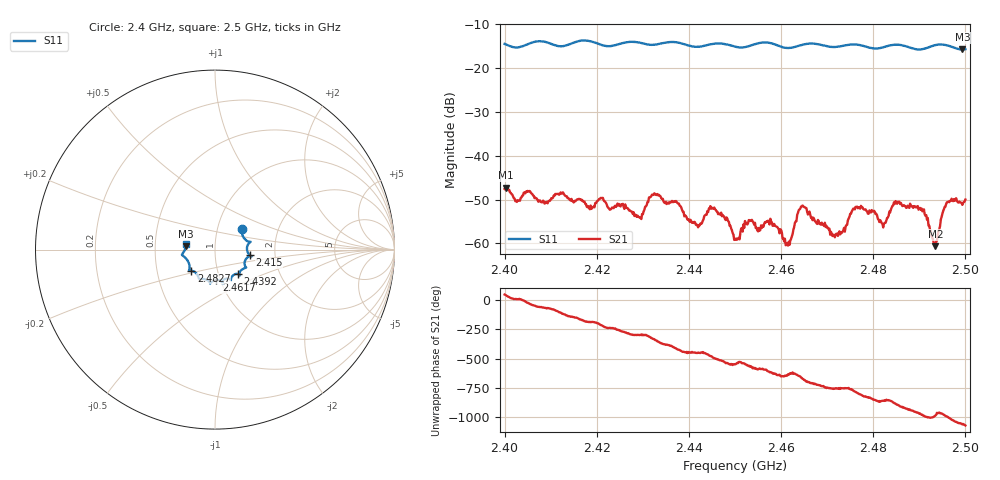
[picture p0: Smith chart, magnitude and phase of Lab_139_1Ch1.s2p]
# Hz S RI R 50
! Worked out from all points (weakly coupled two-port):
!   601 points, 2.4 GHz to 2.5 GHz, reference 50 ohm
!   highest |S21| = -47.31 dB at 2.4003 GHz (marker M1); lowest = -60.6 dB at 2.4935 GHz (marker M2)
!   lowest |S11| = -15.7 dB at 2.4993 GHz (marker M3), VSWR 1.39, Z = 36 + j1.42 ohm
!   |S11| at or under -10 dB: start of sweep to end of sweep
!   S12 and S22 are empty: the file has one direction only
!   S11 on the Smith chart (normalised r, x): 2.4 GHz: 1.31, +0.31; 2.415 GHz: 1.48, -0.10; 2.4392 GHz: 1.24, -0.35; 2.4617 GHz: 0.96, -0.34; 2.4827 GHz: 0.75, -0.18; 2.5 GHz: 0.72, +0.05
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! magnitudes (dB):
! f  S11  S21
! 2.4 GHz  -14.4  -47.6
! 2.4003 GHz  -14.6  -47.3
! 2.415 GHz  -14.2  -50.6
! 2.4167 GHz  -13.7  -50.2
! 2.4292 GHz  -14.1  -54.0
! 2.4333 GHz  -14.5  -49.1
! 2.4392 GHz  -14.6  -53.6
! 2.4452 GHz  -14.4  -52.0
! 2.45 GHz  -15.1  -59.0
! 2.4573 GHz  -14.2  -55.2
! 2.4617 GHz  -15.4  -59.6
! 2.4643 GHz  -14.7  -51.6
! 2.4667 GHz  -14.4  -54.1
! 2.4715 GHz  -15.2  -58.2
! 2.4763 GHz  -14.6  -51.7
! 2.4827 GHz  -15.1  -55.3
! 2.4833 GHz  -14.9  -53.7
! 2.4905 GHz  -15.7  -52.1
! 2.4935 GHz  -14.7  -60.6
! 2.4958 GHz  -14.7  -51.0
! 2.4993 GHz  -15.7  -51.2
! 2.5 GHz  -15.7  -50.0
